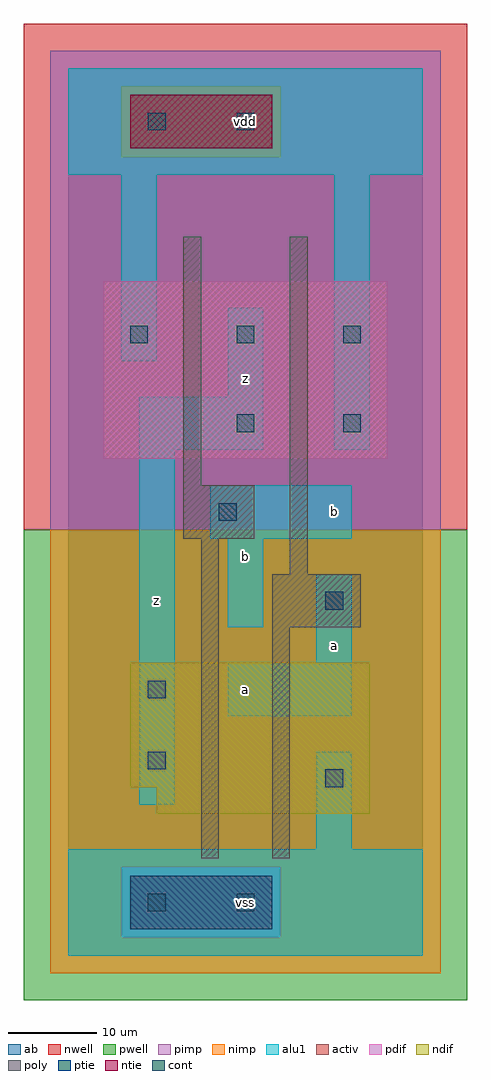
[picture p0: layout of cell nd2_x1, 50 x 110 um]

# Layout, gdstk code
import gdstk
lib = gdstk.Library(unit=1e-6, precision=1e-09)
def R(c, l, rs):  # rectangles x0, y0, x1, y1
    for r in rs: c.add(gdstk.rectangle(r[:2], r[2:], *l))
def A(c, l, x, y, w, h, nx, ny, dx, dy):  # array of equal rectangles
    R(c, l, [(x+i*dx, y+j*dy, x+i*dx+w, y+j*dy+h) for i in range(nx) for j in range(ny)])
ndif = (3, 0)
pdif = (4, 0)
ntie = (5, 0)
ptie = (6, 0)
cont = (25, 0)
pwell = (41, 0)
nwell = (42, 0)
activ = (43, 0)
pimp = (44, 0)
nimp = (45, 0)
poly = (46, 0)
alu1 = (49, 0)
ab = (63, 0)

nd2_x1 = lib.new_cell('nd2_x1')
R(nd2_x1, ndif, [(10,16,34,19), (7,19,34,33)])
R(nd2_x1, pdif, [(4,56,36,76)])
R(nd2_x1, ntie, [(7,91,23,97)])
R(nd2_x1, ptie, [(7,3,23,9)])
A(nd2_x1, cont, 7, 69, 2, 2, 3, 1, 12, 0)
R(nd2_x1, cont, [(9,5,11,7), (19,5,21,7), (29,19,31,21), (9,21,11,23), (9,29,11,31), (29,39,31,41), (17,49,19,51), (19,59,21,61), (31,59,33,61), (9,93,11,95), (19,93,21,95)])
R(nd2_x1, pwell, [(-5,-5,45,48)])
R(nd2_x1, nwell, [(-5,48,45,105)])
R(nd2_x1, activ, [(7,3,23,9), (10,16,34,19), (7,19,34,33), (4,56,36,76), (7,91,23,97)])
R(nd2_x1, pimp, [(6,2,24,10), (-2,48,42,90), (-2,90,6,98), (24,90,42,98), (-2,98,42,102)])
R(nd2_x1, nimp, [(-2,-2,42,2), (-2,2,6,10), (24,2,42,10), (-2,10,42,48), (6,90,24,98)])
R(nd2_x1, poly, [(15,11,17,47), (23,11,25,37), (23,37,33,43), (25,43,27,81), (13,47,21,53), (13,53,15,81)])
R(nd2_x1, alu1, [(0,0,40,12), (28,12,32,23), (8,17,12,57), (18,27,32,33), (28,33,32,43), (18,37,22,47), (16,47,32,53), (8,57,22,63), (30,57,34,88), (18,63,22,73), (6,67,10,88), (0,88,40,100)])
R(nd2_x1, ab, [(0,0,40,100)])
nd2_x1.add(gdstk.Label('z', (10,40), layer=49, texttype=0))
nd2_x1.add(gdstk.Label('vss', (20,6), layer=49, texttype=0))
nd2_x1.add(gdstk.Label('a', (20,30), layer=49, texttype=0))
nd2_x1.add(gdstk.Label('b', (20,45), layer=49, texttype=0))
nd2_x1.add(gdstk.Label('z', (20,65), layer=49, texttype=0))
nd2_x1.add(gdstk.Label('vdd', (20,94), layer=49, texttype=0))
nd2_x1.add(gdstk.Label('a', (30,35), layer=49, texttype=0))
nd2_x1.add(gdstk.Label('b', (30,50), layer=49, texttype=0))

lib.write_gds('nd2_x1.gds')
